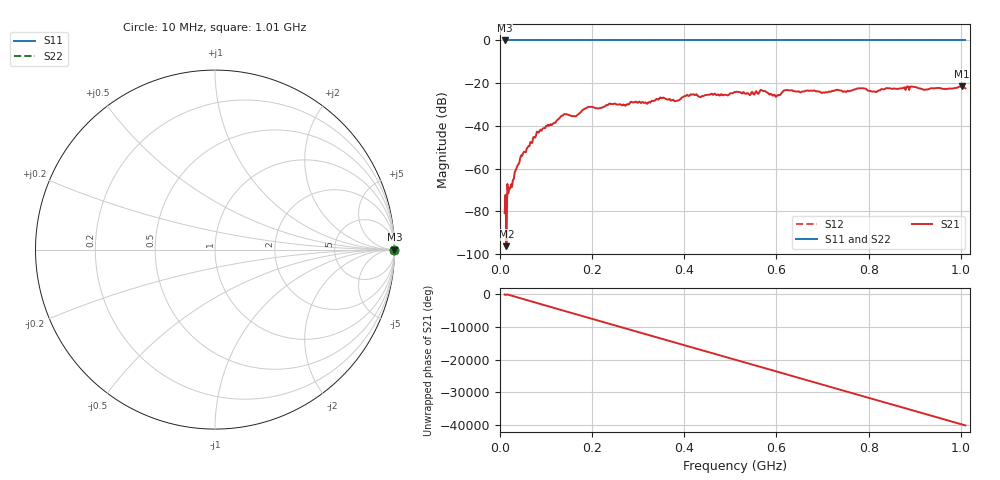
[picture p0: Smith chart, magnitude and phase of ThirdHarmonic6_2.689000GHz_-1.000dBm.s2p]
! 8/17/2025 6:22:13 AM
! C:\ANRITSUVNA\TEMP\TEMP.S2P
! CHANNEL.1
! TR.MEASUREMENT
! RAW.DATA
! RF.CORRECTION.OFF
! AVERAGING.OFF
! IF.BANDWIDTH: 5KHZ
! SWEEPTYPE:  FREQ.SWEEP(Linear)
! Reference Plane Port Info
! PORT:  PORT1  PORT2
! DISTANCE:  0  m  0  m
! TIME:  0  s  0  s
! PHASE.OFFSET:  0  deg.  0  deg.
! LOSS:  0  dB  0  dB
! REF.LOSS:  0  dB  0  dB
! REF.FREQ:  0  Hz  0  Hz
! Power Info
! POWER:  -20  dBm  -20  dBm
! EFF.POWER:  -20  dBm  -20  dBm
! SOURCE.ATTEN:  0  dB  0  dB
! TEST.ATTEN:  0  dB  0  dB
# GHZ S RI R 50.0
! FREQ.GHZ  S11RE  S11IM  S21RE  S21IM  S12RE  S12IM  S22RE  S22IM
!; PortSelection: Port_12
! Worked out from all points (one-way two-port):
!   501 points, 10 MHz to 1.01 GHz, reference 50 ohm
!   highest |S21| = -21.49 dB at 1.002 GHz (marker M1); lowest = -96.4 dB at 14 MHz (marker M2)
!   lowest |S11| = 0.0 dB at 10 MHz (marker M3)
!   |S11| at or under -10 dB: nowhere
!   |S22| runs from 0.0 to 0.0 dB; largest |S21 - S12| = 1.1
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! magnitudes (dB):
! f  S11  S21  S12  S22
! 10 MHz  0.0  -80.9  0.0  0.0
! 14 MHz  0.0  -96.4  0.0  0.0
! 20 MHz  0.0  -69.4  0.0  0.0
! 26 MHz  0.0  -68.7  0.0  0.0
! 48 MHz  0.0  -54.1  0.0  0.0
! 84 MHz  0.0  -43.2  0.0  0.0
! 136 MHz  0.0  -35.2  0.0  0.0
! 162 MHz  0.0  -35.5  0.0  0.0
! 178 MHz  0.0  -32.9  0.0  0.0
! 344 MHz  0.0  -27.7  0.0  0.0
! 382 MHz  0.0  -28.4  0.0  0.0
! 416 MHz  0.0  -25.4  0.0  0.0
! 510 MHz  0.0  -24.1  0.0  0.0
! 570 MHz  0.0  -23.6  0.0  0.0
! 602 MHz  0.0  -25.7  0.0  0.0
! 620 MHz  0.0  -23.3  0.0  0.0
! 678 MHz  0.0  -23.5  0.0  0.0
! 784 MHz  0.0  -22.4  0.0  0.0
! 814 MHz  0.0  -24.0  0.0  0.0
! 844 MHz  0.0  -22.4  0.0  0.0
! 1.002 GHz  0.0  -21.5  0.0  0.0
! 1.01 GHz  0.0  -22.4  0.0  0.0
